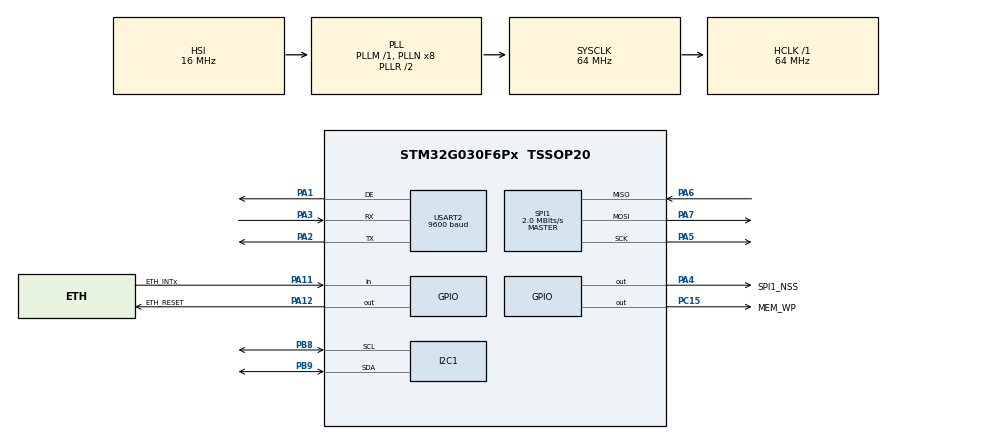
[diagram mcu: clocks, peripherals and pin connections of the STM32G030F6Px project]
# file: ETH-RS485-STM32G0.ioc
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Dma.Request0=USART2_TX
Dma.USART2_TX.0.Direction=DMA_MEMORY_TO_PERIPH
Dma.USART2_TX.0.EventEnable=DISABLE
Dma.USART2_TX.0.Instance=DMA1_Channel1
Dma.USART2_TX.0.MemDataAlignment=DMA_MDATAALIGN_BYTE
Dma.USART2_TX.0.MemInc=DMA_MINC_ENABLE
Dma.USART2_TX.0.Mode=DMA_NORMAL
Dma.USART2_TX.0.PeriphDataAlignment=DMA_PDATAALIGN_BYTE
Dma.USART2_TX.0.PeriphInc=DMA_PINC_DISABLE
Dma.USART2_TX.0.Polarity=HAL_DMAMUX_REQ_GEN_RISING
Dma.USART2_TX.0.Priority=DMA_PRIORITY_LOW
Dma.USART2_TX.0.RequestNumber=1
Dma.USART2_TX.0.SignalID=NONE
Dma.USART2_TX.0.SyncEnable=DISABLE
Dma.USART2_TX.0.SyncPolarity=HAL_DMAMUX_SYNC_NO_EVENT
Dma.USART2_TX.0.SyncRequestNumber=1
Dma.USART2_TX.0.SyncSignalID=NONE
I2C1.Timing=0x10707DBC
Mcu.Family=STM32G0
Mcu.Name=STM32G030F6Px
Mcu.Package=TSSOP20
NVIC.DMA1_Channel1_IRQn=true\:0\:0\:false\:false\:true\:false\:true\:true
NVIC.TIM14_IRQn=true\:0\:0\:false\:false\:true\:true\:true\:true
NVIC.USART2_IRQn=true\:0\:0\:false\:false\:true\:true\:true\:true
PA1.Mode=Hardware Flow Control (RS485)
PA1.Signal=USART2_DE
PA11\ [PA9].GPIO_Label=ETH_INTx
PA11\ [PA9].Signal=GPIO_Input
PA12\ [PA10].GPIO_Label=ETH_RESET
PA12\ [PA10].PinState=GPIO_PIN_SET
PA12\ [PA10].Signal=GPIO_Output
PA13.Mode=Serial_Wire
PA13.Signal=SYS_SWDIO
PA14-BOOT0.Mode=Serial_Wire
PA14-BOOT0.Signal=SYS_SWCLK
PA14-BOOT0__PA15.StandardMode=true
PA2.Mode=Asynchronous
PA2.Signal=USART2_TX
PA3.Mode=Asynchronous
PA3.Signal=USART2_RX
PA4.GPIO_Label=SPI1_NSS
PA4.GPIO_PuPd=GPIO_PULLUP
PA4.PinState=GPIO_PIN_SET
PA4.Signal=GPIO_Output
PA5.Mode=Full_Duplex_Master
PA5.Signal=SPI1_SCK
PA6.Mode=Full_Duplex_Master
PA6.Signal=SPI1_MISO
PA7.Mode=Full_Duplex_Master
PA7.Signal=SPI1_MOSI
PB0__PB1__PB2__PA8.StandardMode=true
PB3__PB4__PB5__PB6.StandardMode=true
PB7__PB8.StandardMode=true
PB8.GPIO_Pu=GPIO_PULLUP
PB8.GPIO_Speed=GPIO_SPEED_FREQ_MEDIUM
PB8.Mode=I2C
PB8.Signal=I2C1_SCL
PB9.GPIO_Pu=GPIO_PULLUP
PB9.GPIO_Speed=GPIO_SPEED_FREQ_MEDIUM
PB9.Mode=I2C
PB9.Signal=I2C1_SDA
PC14-OSC32_IN\ (PC14)__PB9.StandardMode=true
PC15-OSC32_OUT\ (PC15).GPIO_Label=MEM_WP
PC15-OSC32_OUT\ (PC15).GPIO_PuPd=GPIO_PULLUP
PC15-OSC32_OUT\ (PC15).PinState=GPIO_PIN_SET
PC15-OSC32_OUT\ (PC15).Signal=GPIO_Output
ProjectManager.HeapSize=0x200
ProjectManager.StackSize=0x400
ProjectManager.TargetToolchain=MDK-ARM V5.32
RCC.ADCFreq_Value=64000000
RCC.AHBFreq_Value=64000000
RCC.CortexFreq_Value=64000000
RCC.EXTERNAL_CLOCK_VALUE=12288000
RCC.HCLKFreq_Value=64000000
RCC.HSE_VALUE=8000000
RCC.HSI_VALUE=16000000
RCC.LSE_VALUE=32768
RCC.RCC_MCO1Source=RCC_MCO1SOURCE_PLLCLK
RCC.RCC_MCODiv=RCC_MCODIV_2
RCC.SYSCLKFreq_VALUE=64000000
RCC.SYSCLKSource=RCC_SYSCLKSOURCE_PLLCLK
RCC.VCOOutputFreq_Value=128000000
SPI1.BaudRatePrescaler=SPI_BAUDRATEPRESCALER_32
SPI1.CalculateBaudRate=2.0 MBits/s
SPI1.DataSize=SPI_DATASIZE_8BIT
SPI1.Direction=SPI_DIRECTION_2LINES
SPI1.Mode=SPI_MODE_MASTER
SPI1.NSSPMode=SPI_NSS_PULSE_DISABLE
SPI1.VirtualType=VM_MASTER
TIM14.Channel=TIM_CHANNEL_1
TIM14.Period=10000
TIM14.Prescaler=64
USART2.BaudRate=9600
USART2.UART_DEPolarity=UART_DE_POLARITY_HIGH
USART2.VirtualMode-Asynchronous=VM_ASYNC
USART2.VirtualMode-Hardware\ Flow\ Control\ (RS485)=VM_ASYNC
VP_TIM14_VS_ClockSourceINT.Mode=Enable_Timer
VP_TIM14_VS_no_output1.Mode=Output Compare1 No Output
board=custom

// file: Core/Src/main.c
/* USER CODE BEGIN Header */
/**
  ******************************************************************************
  * @file           : main.c
  * @brief          : Main program body
  ******************************************************************************
  * @attention
  *
  * Copyright (c) 2023 STMicroelectronics.
  * All rights reserved.
  *
  * This software is licensed under terms that can be found in the LICENSE file
  * in the root directory of this software component.
  * If no LICENSE file comes with this software, it is provided AS-IS.
  *
  ******************************************************************************
  */
/* USER CODE END Header */
#include "main.h"
#include "dma.h"
#include "i2c.h"
#include "spi.h"
#include "tim.h"
#include "usart.h"
#include "gpio.h"

/* USER CODE BEGIN Includes */

#include "w5500.h"
#include "string.h"
#include "stdio.h"
#include "MemoryI2C.h"

/* USER CODE END Includes */

/* USER CODE BEGIN PTD */
typedef struct {
	uint8_t gateway[4];
	uint8_t mac[6];
	uint8_t subnet[4];
	uint8_t ipadd[4];
	uint8_t socket0_Destipadd[4];
	uint8_t socket1_Destipadd[4];
	uint16_t socket0_SourcePort;
	uint16_t socket0_DestPort;
	uint16_t socket1_SourcePort;
	uint16_t socket1_DestPort;

}WIZNetworksetting_t;

const uint8_t 	defaultgateway[]={192,168,1,1};
const uint8_t	defaultsubnet[]={255,255,255,0};
const uint8_t	defaultip[]={192,168,1,200};
const uint8_t	defaultdestip_Socket0[]={192,168,1,255};
const uint8_t	defaultdestip_Socket1[]={255,255,255,255};
const int8_t    waitForPHY[]={"Waiting For PHY On...\r\n"};
const int8_t	PHYReady[]={"PHY On.\r\n"};
const int8_t	configStr[]={"&config&"};
const int8_t	locateStr[]={"&locate&"};
const int8_t	settingStr[]={"&seting&"};

/* USER CODE END PTD */

/* USER CODE BEGIN PV */
/* Global variables ---------------------------------------------------------*/
WIZNetworksetting_t g_WIZNetworkSetting;
volatile uint8_t g_usart2RxcommBuf[64];
volatile uint8_t g_usart2_DmaData[64];
volatile uint8_t g_udpData[64];
volatile uint8_t g_timeOutCounter = 0;
volatile uint8_t g_UDP_Commbuf[64];
volatile uint8_t g_rxisr_frameSize = 0;
volatile uint8_t g_flag =0 ;
volatile uint8_t localBuffer[16];

/* USER CODE END PV */

void SystemClock_Config(void);

int main(void)
{
  /* USER CODE BEGIN 1 */
	volatile uint8_t udp_dataSize = 0;
	volatile uint8_t frameSize = 0;
	volatile uint8_t WIZ_config[64];
	volatile uint8_t configSize = 0;

  /* USER CODE END 1 */

  /* MCU Configuration--------------------------------------------------------*/

  /* Reset of all peripherals, Initializes the Flash interface and the Systick. */
  HAL_Init();

  /* Configure the system clock */
  SystemClock_Config();

  /* Initialize all configured peripherals */
  MX_GPIO_Init();
  MX_DMA_Init();
  MX_I2C1_Init();
  MX_SPI1_Init();
  MX_USART2_UART_Init();
  MX_TIM14_Init();
  /* USER CODE BEGIN 2 */

	LL_SPI_SetRxFIFOThreshold(SPI1,LL_SPI_RX_FIFO_TH_QUARTER);
	LL_SPI_Enable(SPI1);	//Enable SPI1
	while( LL_SPI_IsEnabled(SPI1) == 0);	//Wait To Enable SPI

	LL_USART_EnableIT_RXNE(USART2);
	while( LL_USART_IsEnabled(USART2) == 0); //Wait To Enable USART

	/*Reset Wiznet */
	HAL_GPIO_WritePin(ETH_RESET_GPIO_Port,ETH_RESET_Pin,GPIO_PIN_RESET);
	HAL_Delay(1000);
	HAL_GPIO_WritePin(ETH_RESET_GPIO_Port,ETH_RESET_Pin,GPIO_PIN_SET);

	usart2_SendAnswer_DMA(strlen(waitForPHY),waitForPHY);
	while(!(getPHYCFGR() & PHYCFGR_LNK_ON));   //Wait for PHY On
	usart2_SendAnswer_DMA(strlen(PHYReady),PHYReady);

	HAL_GPIO_WritePin(MEM_WP_GPIO_Port,MEM_WP_Pin,GPIO_PIN_RESET);
	HAL_Delay(5);

//	memWriteByte(MANUFACTURE_DADA_PROGRAM_BYTE,0xff);
//	memWriteByte(MANUFACTURE_DADA_PROGRAM_BYTE,0xff);
//	for(i=0;i<1024;i++){
//			memWriteByte(i,0xff);
//	}

	if(memReadByte(MANUFACTURE_DADA_PROGRAM_BYTE) == 1){	//Read Last Config From Memory
		memReadArray(IP_ADDRESS_PAGE,g_WIZNetworkSetting.ipadd,4);
		memReadArray(MAC_ADDRESS_PAGE,g_WIZNetworkSetting.mac,6);
		memReadArray(SUBNET_MASK_PAGE,g_WIZNetworkSetting.subnet,4);
		memReadArray(GATEWAY_IP_ADDRESS_PAGE,g_WIZNetworkSetting.gateway,4);
		//Socket0 Read Setting
		memReadArray(SOCKET0_DESTINATION_IP_ADDRESS_PAGE,g_WIZNetworkSetting.socket0_Destipadd,4);
		g_WIZNetworkSetting.socket0_SourcePort = memReadHalfWord(SOCKET0_SOURCE_PORT_BYTE);
		g_WIZNetworkSetting.socket0_DestPort = memReadHalfWord(SOCKET0_DESTINATION_PORT_BYTE);

		//Socket1 Read Setting
		memReadArray(SOCKET1_DESTINATION_IP_ADDRESS_PAGE,g_WIZNetworkSetting.socket1_Destipadd,4);
		g_WIZNetworkSetting.socket1_SourcePort = memReadHalfWord(SOCKET1_SOURCE_PORT_BYTE);
		g_WIZNetworkSetting.socket1_DestPort = memReadHalfWord(SOCKET1_DESTINATION_PORT_BYTE);

		WIZ_networkConfig();
	}
	else{
		WIZ_defaultNetworkConfig();
	}

	HAL_Delay(5);
	HAL_GPIO_WritePin(MEM_WP_GPIO_Port,MEM_WP_Pin,GPIO_PIN_SET);

//	HAL_IWDG_Refresh(&hiwdg);

  /* USER CODE END 2 */

  /* Infinite loop */
  while (1)
  {

    /* USER CODE BEGIN 3 */

	  WIZ_linkCheck();
	  udp_dataSize = WIZ_recvudp(g_udpData);
	  if((g_flag & UDP_DATA_RDY) != 0){
			g_flag ^= UDP_DATA_RDY;
			frameSize = Frame_check(g_udpData,udp_dataSize);
			if((g_flag & FRAME_CHECK_OK) != 0){
				g_flag ^= FRAME_CHECK_OK;
				usart2_SendAnswer_DMA(frameSize,g_UDP_Commbuf);
				__HAL_TIM_CLEAR_FLAG(&htim14,TIM_FLAG_UPDATE);
				HAL_TIM_Base_Start_IT(&htim14);
				while(((g_flag & USART_DATA_RDY) == 0) && (g_timeOutCounter < 10));
				g_timeOutCounter = 0;
			}
	  }
	  else if((g_flag & UDP_CONFIG_RDY) != 0){
			memcpy(localBuffer,g_udpData,8);
			if(strcasecmp(localBuffer,configStr) == 0){
				configSize = WIZ_calculateConfig(WIZ_config);
				WIZ_sendudp(SOCKET_CONFIG,WIZ_config,configSize);
			}
			else if(strcasecmp(localBuffer,locateStr) == 0){
				uint8_t a[]={"Device located"};
				WIZ_sendudp(SOCKET_CONFIG,a,strlen(a));
			}
			else if(strcasecmp(localBuffer,settingStr) == 0){
				if(WIZ_saveSetting(g_udpData,udp_dataSize) == 1){
					uint8_t a[]={"Setting Save,Rebooting Device..."};
					WIZ_sendudp(SOCKET_CONFIG,a,strlen(a));
					NVIC_SystemReset();
				}
				else{
					uint8_t a[]={"Save Setting Error!Worng Data."};
					WIZ_sendudp(SOCKET_CONFIG,a,strlen(a));
				}
			}
			while(udp_dataSize > 0){
				g_udpData[udp_dataSize]=0;
				udp_dataSize--;
			}
			g_flag ^= UDP_CONFIG_RDY;

	  }
	  if((g_flag & USART_DATA_RDY) != 0){
		WIZ_sendudp(SOCKET_UDP,g_usart2RxcommBuf,g_rxisr_frameSize);
		g_flag ^= USART_DATA_RDY;
	  }
	  __HAL_TIM_CLEAR_FLAG(&htim14,TIM_FLAG_UPDATE);
	  HAL_TIM_Base_Stop_IT(&htim14);

  }
  /* USER CODE END 3 */
}

void SystemClock_Config(void)
{
  RCC_OscInitTypeDef RCC_OscInitStruct = {0};
  RCC_ClkInitTypeDef RCC_ClkInitStruct = {0};

  /** Configure the main internal regulator output voltage
  */
  HAL_PWREx_ControlVoltageScaling(PWR_REGULATOR_VOLTAGE_SCALE1);

  /** Initializes the RCC Oscillators according to the specified parameters
  * in the RCC_OscInitTypeDef structure.
  */
  RCC_OscInitStruct.OscillatorType = RCC_OSCILLATORTYPE_HSI;
  RCC_OscInitStruct.HSIState = RCC_HSI_ON;
  RCC_OscInitStruct.HSIDiv = RCC_HSI_DIV1;
  RCC_OscInitStruct.HSICalibrationValue = RCC_HSICALIBRATION_DEFAULT;
  RCC_OscInitStruct.PLL.PLLState = RCC_PLL_ON;
  RCC_OscInitStruct.PLL.PLLSource = RCC_PLLSOURCE_HSI;
  RCC_OscInitStruct.PLL.PLLM = RCC_PLLM_DIV1;
  RCC_OscInitStruct.PLL.PLLN = 8;
  RCC_OscInitStruct.PLL.PLLP = RCC_PLLP_DIV2;
  RCC_OscInitStruct.PLL.PLLR = RCC_PLLR_DIV2;
  if (HAL_RCC_OscConfig(&RCC_OscInitStruct) != HAL_OK)
  {
    Error_Handler();
  }

  /** Initializes the CPU, AHB and APB buses clocks
  */
  RCC_ClkInitStruct.ClockType = RCC_CLOCKTYPE_HCLK|RCC_CLOCKTYPE_SYSCLK
                              |RCC_CLOCKTYPE_PCLK1;
  RCC_ClkInitStruct.SYSCLKSource = RCC_SYSCLKSOURCE_PLLCLK;
  RCC_ClkInitStruct.AHBCLKDivider = RCC_SYSCLK_DIV1;
  RCC_ClkInitStruct.APB1CLKDivider = RCC_HCLK_DIV1;

  if (HAL_RCC_ClockConfig(&RCC_ClkInitStruct, FLASH_LATENCY_2) != HAL_OK)
  {
    Error_Handler();
  }
}

/* USER CODE BEGIN 4 */
/**
  * @brief System Clock Configuration
  * @retval None
  */
void HAL_UART_IRQHandlerCallBack(void){

	uint8_t data;
	static 	uint8_t usart2RxBuf[64];
	static uint8_t usart2RxBuf_Counter=0;
	uint32_t isrflags   = LL_USART_ReadReg(USART2,ISR);
	uint32_t errorflags = 0x00U;
	volatile	uint8_t i=0;

  /* If no error occurs */
	data = LL_USART_ReceiveData8 (USART2);
	errorflags = (isrflags & (uint32_t)(USART_ISR_PE | USART_ISR_FE | USART_ISR_ORE | USART_ISR_NE));
	if(errorflags == RESET)
	{
		switch(data){
		case Start_Byte :
			usart2RxBuf_Counter=0;
			usart2RxBuf[usart2RxBuf_Counter] = data;
			usart2RxBuf_Counter++;
		break;
		case Stop_Byte :
			usart2RxBuf[usart2RxBuf_Counter] = data;
			usart2RxBuf_Counter++;
			g_rxisr_frameSize=usart2RxBuf_Counter;
			memcpy(g_usart2RxcommBuf,usart2RxBuf,g_rxisr_frameSize);
			usart2RxBuf_Counter = 0;
			g_flag |= USART_DATA_RDY;
		break;
		default :
			usart2RxBuf[usart2RxBuf_Counter] = data;
			usart2RxBuf_Counter++;
		break;
		}
	}
	LL_USART_ClearFlag_ORE(USART2);
	LL_USART_ClearFlag_PE(USART2);
	LL_USART_ClearFlag_FE(USART2);
	LL_USART_ClearFlag_NE(USART2);
}

/**
  * @brief System Clock Configuration
  * @retval None
  */
void usart2_SendAnswer_DMA (uint8_t length, uint8_t* ptr){

	LL_DMA_DisableChannel(DMA1,LL_DMA_CHANNEL_1); //DISABLE channel to be able to change size
	LL_DMA_SetMemoryAddress(DMA1,LL_DMA_CHANNEL_1,(uint32_t) ptr); //memory address
	LL_DMA_SetPeriphAddress(DMA1,LL_DMA_CHANNEL_1,LL_USART_DMA_GetRegAddr(USART2,LL_USART_DMA_REG_DATA_TRANSMIT));// USART TRANSSMIT register address
	LL_DMA_SetDataLength(DMA1, LL_DMA_CHANNEL_1,length);		// set counter
	LL_DMA_ClearFlag_GI1(DMA1);	//clearerr Channel 2 DMA Flags
	LL_USART_ClearFlag_TC(USART2);     // Clear tc flag
	LL_USART_EnableDMAReq_TX (USART2); // ENABLE USART DMA TRanssmit Req
	LL_DMA_EnableChannel(DMA1, LL_DMA_CHANNEL_1);// enable channel 1

}

/**
  * @brief System Clock Configuration
  * @retval None
  */
uint8_t WIZ_recvudp (uint8_t *data ){

uint16_t ptr = 0;
uint32_t addrsel = 0;
uint8_t header_size = 8;
uint8_t ctrlSize = 0;
uint8_t header[8];
uint16_t datasize = 0;

    if((getSn_IR(SOCKET_UDP) & Sn_IR_RECV ) != 0 )
	{
		setSn_IR(SOCKET_UDP , Sn_IR_RECV );
        ptr = getSn_RX_RD(SOCKET_UDP);
        ctrlSize = getSn_RX_RSR(SOCKET_UDP);
        addrsel = ((uint32_t)ptr << 8) + (WIZCHIP_RXBUF_BLOCK(SOCKET_UDP) << 3);
        WIZCHIP_READ_BUF(addrsel, header, header_size);
        ptr += header_size;
        datasize = (header[6] << 8);
        datasize += header[7];
		addrsel = ((uint32_t)ptr << 8) + (WIZCHIP_RXBUF_BLOCK(SOCKET_UDP) << 3);
		WIZCHIP_READ_BUF(addrsel, data, datasize);
		ptr += datasize;
		setSn_RX_RD(SOCKET_UDP,ptr);
		setSn_CR(SOCKET_UDP,Sn_CR_RECV );
		g_flag |= UDP_DATA_RDY;

    }
	else if((getSn_IR(SOCKET_CONFIG) & Sn_IR_RECV ) != 0 ){

		setSn_IR(SOCKET_CONFIG , Sn_IR_RECV );
        ptr = getSn_RX_RD(SOCKET_CONFIG);
        ctrlSize = getSn_RX_RSR(SOCKET_CONFIG);
        addrsel = ((uint32_t)ptr << 8) + (WIZCHIP_RXBUF_BLOCK(SOCKET_CONFIG) << 3);
        WIZCHIP_READ_BUF(addrsel, header, header_size);
        ptr += header_size;
        datasize = (header[6] << 8);
        datasize += header[7];
		addrsel = ((uint32_t)ptr << 8) + (WIZCHIP_RXBUF_BLOCK(SOCKET_CONFIG) << 3);
		WIZCHIP_READ_BUF(addrsel, data, datasize);
		ptr += datasize;
		setSn_RX_RD(SOCKET_CONFIG,ptr);
		setSn_CR(SOCKET_CONFIG,Sn_CR_RECV );
		g_flag |= UDP_CONFIG_RDY;

	}

	return datasize;
}

/**
  * @brief System Clock Configuration
  * @retval None
  */
void HAL_TIM14_IRQHandlerCallBack(void){

	g_timeOutCounter++;
	if(g_timeOutCounter >= 200)g_timeOutCounter = 200;
	__HAL_TIM_CLEAR_FLAG(&htim14,TIM_FLAG_UPDATE);

}
/**
  * @brief System Clock Configuration
  * @retval None
  */
uint8_t Frame_check (uint8_t *data,uint8_t len){

uint8_t i=0;
uint8_t UDP_Packet_size=0;
static uint8_t UDP_Buff_Counter = 0;

    for(i=0;i<len;i++){
//        if(data[i] == Start_Byte){
//            UDP_Buff_Counter=0;
//            g_UDP_Commbuf[UDP_Buff_Counter]=data[i];
//            UDP_Buff_Counter++;
//        }
//        else if( (UDP_Buff_Counter > 0) && (data[i] != Stop_Byte) ){
//            g_UDP_Commbuf[UDP_Buff_Counter]=data[i];
//            UDP_Buff_Counter++;
//        }
//        else if((UDP_Buff_Counter > 0) && (data[i] == Stop_Byte)){
//            g_UDP_Commbuf[UDP_Buff_Counter]=data[i];
//            UDP_Buff_Counter++;
//            UDP_Packet_size = UDP_Buff_Counter;
//            UDP_Buff_Counter = 0;
//			g_flag |= FRAME_CHECK_OK;
//        }
		switch(data[i]){
			case Start_Byte:
				UDP_Buff_Counter=0;
				g_UDP_Commbuf[UDP_Buff_Counter]=data[i];
				UDP_Buff_Counter++;
			break;
			case Stop_Byte:
				g_UDP_Commbuf[UDP_Buff_Counter]=data[i];
				UDP_Buff_Counter++;
				UDP_Packet_size = UDP_Buff_Counter;
				UDP_Buff_Counter = 0;
				g_flag |= FRAME_CHECK_OK;
			break;
			default:
				g_UDP_Commbuf[UDP_Buff_Counter]=data[i];
				UDP_Buff_Counter++;
			break;
		}
    }
    return UDP_Packet_size;
}
/**
  * @brief System Clock Configuration
  * @retval None
  */
void WIZ_sendudp (uint8_t sn,uint8_t *data, uint16_t len){

	uint16_t ptr = 0;
	uint32_t addrsel = 0;
	uint8_t ctrlSize = 0;
	uint16_t freesize = 0;

	if(len == 0)  return;
	freesize = getSn_TX_FSR(sn);
	if(freesize < len){
		len = freesize;
	}
	setSn_IR(sn , Sn_IR_SENDOK );
	ptr = getSn_TX_WR(sn);
	//M20140501 : implict type casting -> explict type casting
	//addrsel = (ptr << 8) + (WIZCHIP_TXBUF_BLOCK(sn) << 3);
	addrsel = ((uint32_t)ptr << 8) + (WIZCHIP_TXBUF_BLOCK(sn) << 3);
	WIZCHIP_WRITE_BUF(addrsel,data, len);

	ptr += len;
	setSn_TX_WR(sn,ptr);
	setSn_CR(sn,Sn_CR_SEND );
	while(!(getSn_IR(sn) & (Sn_IR_SENDOK) )){
		if((getSn_IR(sn)) & (Sn_IR_TIMEOUT)){
//			setSn_IR(sn,(Sn_IR_SENDOK | Sn_IR_TIMEOUT));
			setSn_IR(sn,(Sn_IR_TIMEOUT));
//			break;
		}
//		if((getSn_IR(sn)) & (Sn_IR_TIMEOUT)){
//			setSn_IR(sn,(Sn_IR_TIMEOUT));
//			WIZ_sendudp(SOCKET_UDP,g_usart2RxcommBuf,g_rxisr_frameSize);
//		}
	}
	setSn_IR(sn , Sn_IR_SENDOK );
}
/**
  * @brief System Clock Configuration
  * @retval None
  */

void WIZ_defaultNetworkConfig (void){

	uint32_t UID[3];
	uint32_t buff = 0;
	uint8_t	defaultmac[6];

	UID[0] = HAL_GetUIDw0();
	UID[1] = HAL_GetUIDw1();
	UID[2] = HAL_GetUIDw2();

	buff = (UID[0] ^ UID[2]);
	buff = (buff ^ UID[1]);
	buff &= (0xffffff);

	defaultmac[0]= STATIC_FIRST_MAC;
	defaultmac[1]= STATIC_SECOND_MAC;
	defaultmac[2]= STATIC_THIRD_MAC;
	defaultmac[3]= (buff >> 16);
	defaultmac[4]= (buff >> 8);
	defaultmac[5]= (buff);

	g_WIZNetworkSetting.socket0_DestPort = SOCKET0_DEFAULT_DESTPORT;
	g_WIZNetworkSetting.socket0_SourcePort = SOCKET0_DEFAULT_SOURCEPORT;
	g_WIZNetworkSetting.socket1_DestPort = SOCKET1_DEFAULT_DESTPORT;
	g_WIZNetworkSetting.socket1_SourcePort = SOCKET1_DEFAULT_SOURCEPORT;

	setMR(0x00);	//Common Register INT set to null
	setIMR(0x00);	//Common Register INT Mask set to null
	setRTR(0x01f4);		//set Retry Time-value to 50ms
	setRCR(0x0005);		//set Retry Count to 5

	setSn_RXBUF_SIZE(SOCKET_UDP,0x02);	//set Socket0 RXbuff
	setSn_TXBUF_SIZE(SOCKET_UDP,0x02);	//set Socket0 TXbuff
	setSn_RXBUF_SIZE(SOCKET_CONFIG,0x02);	//set Socket1 RXbuff
	setSn_TXBUF_SIZE(SOCKET_CONFIG,0x02);	//set Socket1 TXbuff

	setSn_MR(SOCKET_UDP,Sn_MR_UDP);  //Set UDP Socket 0
	setSn_MR(SOCKET_CONFIG,Sn_MR_UDP);  //Set UDP Socket 1

	/*
	1)Gateway Address
	2)MAC Address
	3)Subnet Mak
	4)Wiznet IP Address
	5)Socke0 Destination IP Address
	6)Socke0 Source PORT
	7)Socke0 Destination Port
	8)Socke1 Destination IP Address
	9)Socke1 Source PORT
	10)Socke1 Destination Port
	*/
	setGAR((memcpy(g_WIZNetworkSetting.gateway,defaultgateway,strlen(defaultgateway))));
	setSHAR(memcpy(g_WIZNetworkSetting.mac,defaultmac,strlen(defaultmac)));
	setSUBR(memcpy(g_WIZNetworkSetting.subnet,defaultsubnet,strlen(defaultsubnet)));
	setSIPR(memcpy(g_WIZNetworkSetting.ipadd,defaultip,strlen(defaultip)));
	//Config Socket0
	setSn_DIPR(SOCKET_UDP,memcpy(g_WIZNetworkSetting.socket0_Destipadd,defaultdestip_Socket0,strlen(defaultdestip_Socket0)));
	setSn_PORT(SOCKET_UDP,g_WIZNetworkSetting.socket0_SourcePort);
	setSn_DPORT(SOCKET_UDP,g_WIZNetworkSetting.socket0_DestPort);
	setSn_CR(SOCKET_UDP,Sn_CR_OPEN);	//Open Socket 0
	while((getSn_SR(SOCKET_UDP) != SOCK_UDP));	//wait to socket0 open
	//Config Socket1
	setSn_DIPR(SOCKET_CONFIG,memcpy(g_WIZNetworkSetting.socket1_Destipadd,defaultdestip_Socket1,strlen(defaultdestip_Socket1)));
	setSn_PORT(SOCKET_CONFIG,g_WIZNetworkSetting.socket1_SourcePort);
	setSn_DPORT(SOCKET_CONFIG,g_WIZNetworkSetting.socket1_DestPort);
	setSn_CR(SOCKET_CONFIG,Sn_CR_OPEN);	//Open Socket 1
	while((getSn_SR(SOCKET_CONFIG) != SOCK_UDP));	//wait to socket1 open

	memWriteArray(IP_ADDRESS_PAGE,g_WIZNetworkSetting.ipadd,4);
	memWriteArray(MAC_ADDRESS_PAGE,g_WIZNetworkSetting.mac,6);
	memWriteArray(SUBNET_MASK_PAGE,g_WIZNetworkSetting.subnet,4);
	memWriteArray(GATEWAY_IP_ADDRESS_PAGE,g_WIZNetworkSetting.gateway,4);
	//Save Socket0 Info
	memWriteArray(SOCKET0_DESTINATION_IP_ADDRESS_PAGE,g_WIZNetworkSetting.socket0_Destipadd,4);
	memWriteHalfWord(SOCKET0_SOURCE_PORT_BYTE,SOCKET0_DEFAULT_SOURCEPORT);
	memWriteHalfWord(SOCKET0_DESTINATION_PORT_BYTE,SOCKET0_DEFAULT_DESTPORT);
	//Save Socket1 Info
	memWriteArray(SOCKET1_DESTINATION_IP_ADDRESS_PAGE,g_WIZNetworkSetting.socket1_Destipadd,4);
	memWriteHalfWord(SOCKET1_SOURCE_PORT_BYTE,SOCKET1_DEFAULT_SOURCEPORT);
	memWriteHalfWord(SOCKET1_DESTINATION_PORT_BYTE,SOCKET1_DEFAULT_DESTPORT);

	memWriteByte(MANUFACTURE_DADA_PROGRAM_BYTE,1);

}
/**
  * @brief System Clock Configuration
  * @retval None
  */
void WIZ_linkCheck (void){

	if((getPHYCFGR() & PHYCFGR_LNK_ON ) == 0){
		usart2_SendAnswer_DMA(strlen(waitForPHY),waitForPHY);
        while ((getPHYCFGR() & PHYCFGR_LNK_ON) == 0);   //Wait for PHY On
		/*Reset Wiznet */
		HAL_GPIO_WritePin(ETH_RESET_GPIO_Port,ETH_RESET_Pin,GPIO_PIN_RESET);
		HAL_Delay(1000);
		HAL_GPIO_WritePin(ETH_RESET_GPIO_Port,ETH_RESET_Pin,GPIO_PIN_SET);
        while ((getPHYCFGR() & PHYCFGR_LNK_ON) == 0);
		usart2_SendAnswer_DMA(strlen(PHYReady),PHYReady);
		WIZ_networkConfig();
    }

}
/**
  * @brief System Clock Configuration
  * @retval None
  */
void WIZ_basicConfig (void){

	setMR(0x00);	//Common Register INT set to null
	setIMR(0x00);	//Common Register INT Mask set to null
	setRTR(0x01f4);		//set Retry Time-value to 50ms
	setRCR(0x0005);		//set Retry Count to 5

	setSn_RXBUF_SIZE(SOCKET_UDP,0x02);	//set Socket0 RXbuff
	setSn_TXBUF_SIZE(SOCKET_UDP,0x02);	//set Socket0 TXbuff
	setSn_RXBUF_SIZE(SOCKET_CONFIG,0x02);	//set Socket1 RXbuff
	setSn_TXBUF_SIZE(SOCKET_CONFIG,0x02);	//set Socket1 TXbuff

//	setSIMR(0x02);

	setSn_MR(SOCKET_UDP,Sn_MR_UDP);  //Set UDP Socket 0
	setSn_CR(SOCKET_UDP,Sn_CR_OPEN);	//Open Socket 0
	while((getSn_SR(SOCKET_UDP) != SOCK_UDP));	//wait to socket0 open

	setSn_MR(SOCKET_CONFIG,Sn_MR_UDP);  //Set UDP Socket 1
	setSn_CR(SOCKET_CONFIG,Sn_CR_OPEN);	//Open Socket 1
	while((getSn_SR(SOCKET_CONFIG) != SOCK_UDP));	//wait to socket1 open

}
/**
  * @brief System Clock Configuration
  * @retval None
  */
void WIZ_networkConfig (void){

	setMR(0x00);	//Common Register INT set to null
	setIMR(0x00);	//Common Register INT Mask set to null
	setRTR(0x01f4);		//set Retry Time-value to 50ms
	setRCR(0x0005);		//set Retry Count to 5

	setSn_RXBUF_SIZE(SOCKET_UDP,0x02);	//set Socket0 RXbuff
	setSn_TXBUF_SIZE(SOCKET_UDP,0x02);	//set Socket0 TXbuff
	setSn_RXBUF_SIZE(SOCKET_CONFIG,0x02);	//set Socket1 RXbuff
	setSn_TXBUF_SIZE(SOCKET_CONFIG,0x02);	//set Socket1 TXbuff

	setSn_MR(SOCKET_UDP,Sn_MR_UDP);  //Set UDP Socket 0
	setSn_MR(SOCKET_CONFIG,Sn_MR_UDP);  //Set UDP Socket 1

	//Config Wiznet Network Info
	setGAR(g_WIZNetworkSetting.gateway);
	setSHAR(g_WIZNetworkSetting.mac);
	setSUBR(g_WIZNetworkSetting.subnet);
	setSIPR(g_WIZNetworkSetting.ipadd);
	//Config SOCKET0 Info
	setSn_DIPR(SOCKET_UDP,g_WIZNetworkSetting.socket0_Destipadd);
	setSn_PORT(SOCKET_UDP,g_WIZNetworkSetting.socket0_SourcePort);
	setSn_DPORT(SOCKET_UDP,g_WIZNetworkSetting.socket0_DestPort);
	setSn_CR(SOCKET_UDP,Sn_CR_OPEN);	//Open Socket 0
	while((getSn_SR(SOCKET_UDP) != SOCK_UDP));	//wait to socket0 open
	//Config SOCKET1 Info
	setSn_DIPR(SOCKET_CONFIG,g_WIZNetworkSetting.socket1_Destipadd);
	setSn_PORT(SOCKET_CONFIG,g_WIZNetworkSetting.socket1_SourcePort);
	setSn_DPORT(SOCKET_CONFIG,g_WIZNetworkSetting.socket1_DestPort);
	setSn_CR(SOCKET_CONFIG,Sn_CR_OPEN);	//Open Socket 1
	while((getSn_SR(SOCKET_CONFIG) != SOCK_UDP));	//wait to socket1 open

}
/**
  * @brief System Clock Configuration
  * @retval None
  */
uint8_t WIZ_calculateConfig (uint8_t *data){

		/*
	EXAMPLE : &config&4BYTE IP ADD&6BYTE MAC ADD&4BYTE SUBNET&4BYTE DEST IP ADD&4BYTE GATEWAY&2BYTE SOURCE PORT&2BYTE DEST PORT&
	*/

	uint8_t counter = 0;
	uint8_t i = 0;

	data[counter] = '&';
	counter++;
	for(i=0;i<4;i++){
		data[counter] = g_WIZNetworkSetting.ipadd[i];
		counter++;
	}
	data[counter] = '&';
	counter++;
	for(i=0;i<6;i++){
		data[counter] = g_WIZNetworkSetting.mac[i];
		counter++;
	}
	data[counter] = '&';
	counter++;
	for(i=0;i<4;i++){
		data[counter] = g_WIZNetworkSetting.subnet[i];
		counter++;
	}
	data[counter] = '&';
	counter++;
	for(i=0;i<4;i++){
		data[counter] = g_WIZNetworkSetting.socket0_Destipadd[i];
		counter++;
	}
	data[counter] = '&';
	counter++;
	for(i=0;i<4;i++){
		data[counter] = g_WIZNetworkSetting.gateway[i];
		counter++;
	}
	data[counter] = '&';
	counter++;

	data[counter] = (g_WIZNetworkSetting.socket0_SourcePort>>8);
	counter++;
	data[counter] = (g_WIZNetworkSetting.socket0_SourcePort);
	counter++;

	data[counter] = '&';
	counter++;

	data[counter] = (g_WIZNetworkSetting.socket0_DestPort>>8);
	counter++;
	data[counter] = (g_WIZNetworkSetting.socket0_DestPort);
	counter++;

	data[counter] = '&';
	counter++;

	return counter;

}

/**
  * @brief System Clock Configuration
  * @retval None
  */

uint8_t WIZ_saveSetting (uint8_t *data , uint8_t len){

	/*
	EXAMPLE : &seting&4BYTE IP ADD&6BYTE MAC ADD&4BYTE SUBNET&4BYTE DEST IP ADD&4BYTE GATEWAY&2BYTE SOURCE PORT&2BYTE DEST PORT&
	*/

	uint8_t i = 0;
	uint8_t counter = 0;
	uint8_t buff[64];
	uint8_t retval = 0;
	uint8_t symbolCounter = 0;

	if(len == SAVE_SETTING_LEN){

		do{
			if(data[i] != '&'){
				buff[counter] = data[i];
				counter++;
			}
			else{
				symbolCounter++;
			}
			i++;
			len--;
		}while(len > 0);
		if(symbolCounter == 9){

			for(i=0;i<4;i++){
				g_WIZNetworkSetting.ipadd[i] = buff[i+6];
			}
			for(i=0;i<6;i++){
				g_WIZNetworkSetting.mac[i] = buff[i+10];
			}
			for(i=0;i<4;i++){
				g_WIZNetworkSetting.subnet[i] = buff[i+16];
			}
			for(i=0;i<4;i++){
				g_WIZNetworkSetting.socket0_Destipadd[i] = buff[i+20];
			}
			for(i=0;i<4;i++){
				g_WIZNetworkSetting.gateway[i] = buff[i+24];
			}
			g_WIZNetworkSetting.socket0_SourcePort = (buff[28]<<8);
			g_WIZNetworkSetting.socket0_SourcePort |= buff[29];
			g_WIZNetworkSetting.socket0_DestPort = (buff[30]<<8);
			g_WIZNetworkSetting.socket0_DestPort |= buff[31];

			HAL_GPIO_WritePin(MEM_WP_GPIO_Port,MEM_WP_Pin,GPIO_PIN_RESET);
			HAL_Delay(5);
			memWriteArray(IP_ADDRESS_PAGE,g_WIZNetworkSetting.ipadd,4);
			memWriteArray(MAC_ADDRESS_PAGE,g_WIZNetworkSetting.mac,6);
			memWriteArray(SUBNET_MASK_PAGE,g_WIZNetworkSetting.subnet,4);
			memWriteArray(GATEWAY_IP_ADDRESS_PAGE,g_WIZNetworkSetting.gateway,4);
			memWriteArray(SOCKET0_DESTINATION_IP_ADDRESS_PAGE,g_WIZNetworkSetting.socket0_Destipadd,4);
			memWriteHalfWord(SOCKET0_SOURCE_PORT_BYTE,g_WIZNetworkSetting.socket0_SourcePort);
			memWriteHalfWord(SOCKET0_DESTINATION_PORT_BYTE,g_WIZNetworkSetting.socket0_DestPort);
			HAL_GPIO_WritePin(MEM_WP_GPIO_Port,MEM_WP_Pin,GPIO_PIN_SET);
			HAL_Delay(5);

			retval = 1;
		}
	}

	return retval;
}

void parsData (uint8_t *data , uint8_t len){

	uint8_t buff[64];
	uint8_t i = 0;
	uint8_t symbolCounter = 0;
//	memcpy(buff,data,len);
	for(i=0;i<len;i++){
		switch (data[i]){
			case '&' :
				symbolCounter++;
			break;
			default:
				buff[i] = data[i];
			break;
		}
	}
	memcpy(g_WIZNetworkSetting.ipadd,buff,4);
//	memWriteArray(IP_ADDRESS_PAGE,buff,4);

}
/* USER CODE END 4 */

void Error_Handler(void)
{
  __disable_irq();
  while (1)
  {
  }
}
